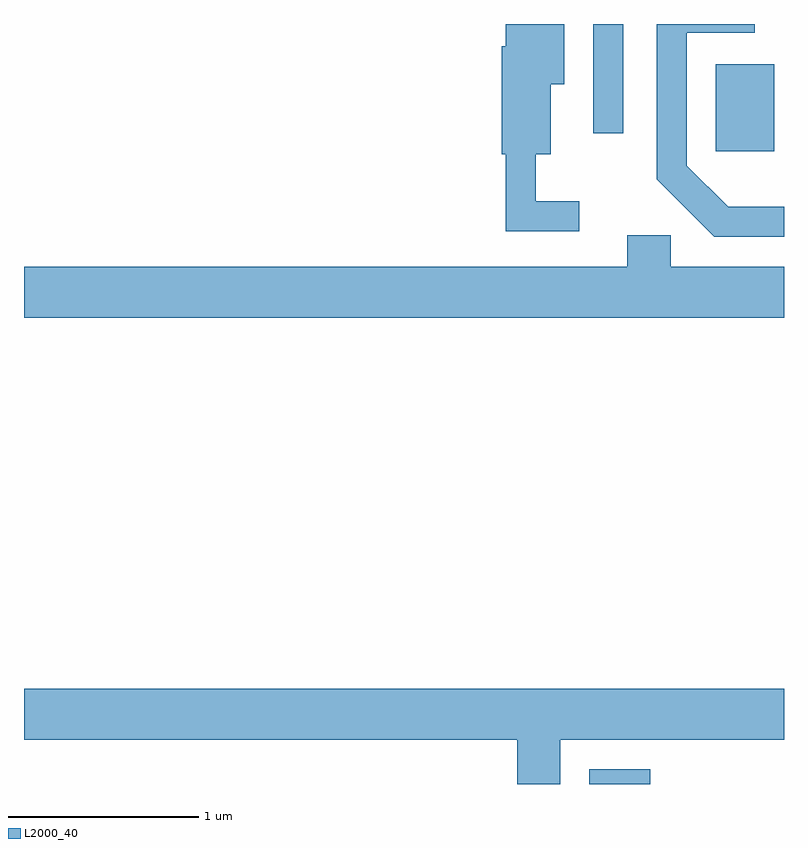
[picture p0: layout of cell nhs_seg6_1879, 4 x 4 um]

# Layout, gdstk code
import gdstk
lib = gdstk.Library(unit=1e-6, precision=1e-09)
def R(c, l, rs):  # rectangles x0, y0, x1, y1
    for r in rs: c.add(gdstk.rectangle(r[:2], r[2:], *l))
def P(c, l, *ps):  # polygons
    for p in ps: c.add(gdstk.Polygon(p, *l))
L2000_40 = (2000, 40)

nhs_seg6_1879 = lib.new_cell('nhs_seg6_1879')
R(nhs_seg6_1879, L2000_40, [(244.586,1634.162,244.908,1634.239), (245.251,1637.491,245.559,1637.949), (244.606,1637.588,244.764,1638.162)])
P(nhs_seg6_1879, L2000_40, [(244.533,1637.229),(244.304,1637.229),(244.304,1637.476),(244.384,1637.476),(244.384,1637.846),(244.454,1637.846),(244.454,1638.162),(244.146,1638.162),(244.146,1638.044),(244.126,1638.044),(244.126,1637.476),(244.146,1637.476),(244.146,1637.071),(244.533,1637.071)],
  [(245.611,1637.199),(245.317,1637.199),(245.099,1637.417),(245.099,1638.116),(245.458,1638.116),(245.458,1638.162),(244.941,1638.162),(244.941,1637.344),(245.244,1637.041),(245.611,1637.041)],
  [(245.611,1636.884),(245.014,1636.884),(245.014,1637.049),(244.786,1637.049),(244.786,1636.884),(241.611,1636.884),(241.611,1636.616),(245.611,1636.616)],
  [(244.434,1634.396),(245.611,1634.396),(245.611,1634.664),(241.611,1634.664),(241.611,1634.396),(244.206,1634.396),(244.206,1634.162),(244.434,1634.162)])

lib.write_gds('nhs_seg6_1879.gds')
